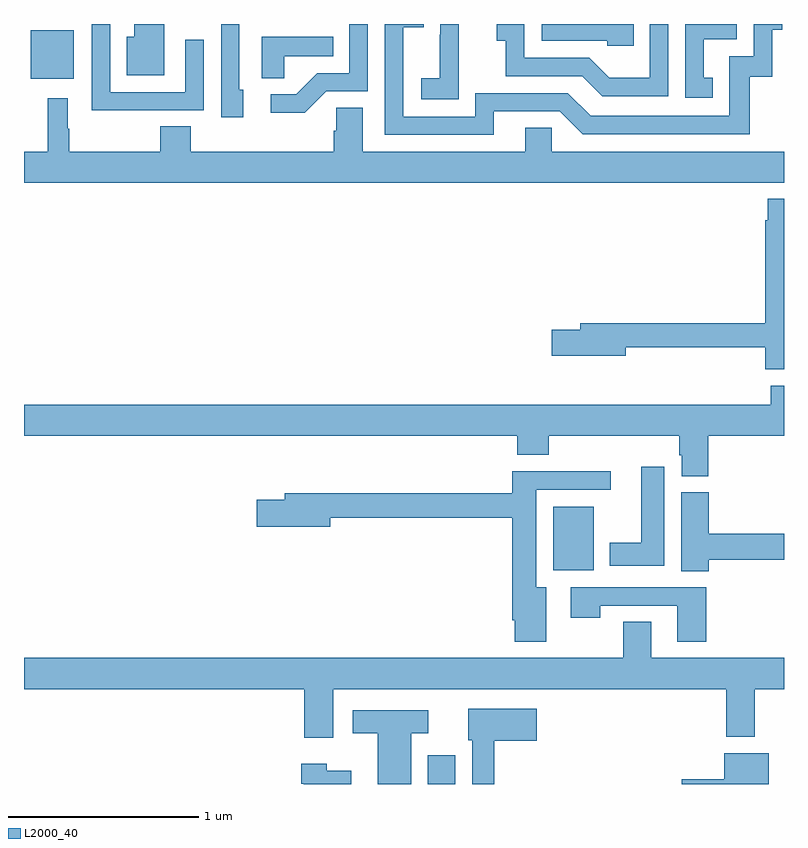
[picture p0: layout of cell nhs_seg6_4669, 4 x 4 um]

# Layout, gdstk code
import gdstk
lib = gdstk.Library(unit=1e-6, precision=1e-09)
def R(c, l, rs):  # rectangles x0, y0, x1, y1
    for r in rs: c.add(gdstk.rectangle(r[:2], r[2:], *l))
def P(c, l, *ps):  # polygons
    for p in ps: c.add(gdstk.Polygon(p, *l))
L2000_40 = (2000, 40)

nhs_seg6_4669 = lib.new_cell('nhs_seg6_4669')
R(nhs_seg6_4669, L2000_40, [(389.126,949.5,389.269,949.651), (389.786,950.624,389.998,950.959), (387.035,953.213,387.262,953.467)])
P(nhs_seg6_4669, L2000_40, [(388.59,953.145),(388.809,953.145),(388.809,953.5),(388.713,953.5),(388.713,953.241),(388.544,953.241),(388.433,953.13),(388.299,953.13),(388.299,953.033),(388.477,953.033)],
  [(387.629,953.046),(387.945,953.046),(387.945,953.416),(387.849,953.416),(387.849,953.142),(387.453,953.142),(387.453,953.5),(387.357,953.5),(387.357,953.045),(387.629,953.045)],
  [(389.473,953.04),(389.82,953.04),(389.94,952.92),(390.82,952.92),(390.82,953.223),(390.938,953.223),(390.938,953.469),(390.991,953.469),(390.991,953.5),(390.84,953.5),(390.84,953.331),(390.711,953.331),(390.711,953.016),(389.982,953.016),(389.862,953.136),(389.376,953.136),(389.376,953.013),(388.995,953.013),(388.995,953.482),(389.105,953.482),(389.105,953.5),(388.899,953.5),(388.899,952.917),(389.473,952.917)],
  [(388.153,953.154),(388.134,953.154),(388.134,953.5),(388.038,953.5),(388.038,953.01),(388.153,953.01)],
  [(387.739,953.5),(387.581,953.5),(387.581,953.434),(387.542,953.434),(387.542,953.231),(387.739,953.231)],
  [(390.626,953.217),(390.577,953.217),(390.577,953.421),(390.75,953.421),(390.75,953.5),(390.48,953.5),(390.48,953.112),(390.626,953.112)],
  [(389.289,953.311),(389.288,953.311),(389.288,953.5),(389.19,953.5),(389.19,953.444),(389.189,953.444),(389.189,953.215),(389.091,953.215),(389.091,953.105),(389.289,953.105)],
  [(390.209,953.5),(389.724,953.5),(389.724,953.412),(390.069,953.412),(390.069,953.385),(390.209,953.385)],
  [(390.39,953.5),(390.294,953.5),(390.294,953.218),(390.08,953.218),(389.976,953.322),(389.634,953.322),(389.634,953.5),(389.487,953.5),(389.487,953.411),(389.536,953.411),(389.536,953.226),(389.939,953.226),(390.044,953.121),(390.39,953.121)],
  [(388.371,953.33),(388.628,953.33),(388.628,953.434),(388.25,953.434),(388.25,953.215),(388.371,953.215)],
  [(391,952.828),(389.778,952.828),(389.778,952.955),(389.639,952.955),(389.639,952.828),(388.783,952.828),(388.783,953.06),(388.644,953.06),(388.644,952.937),(388.631,952.937),(388.631,952.828),(387.878,952.828),(387.878,952.961),(387.718,952.961),(387.718,952.828),(387.239,952.828),(387.239,952.949),(387.229,952.949),(387.229,953.11),(387.125,953.11),(387.125,952.828),(387,952.828),(387,952.664),(391,952.664)],
  [(391,952.579),(390.914,952.579),(390.914,952.466),(390.902,952.466),(390.902,951.926),(389.927,951.926),(389.927,951.89),(389.778,951.89),(389.778,951.755),(390.166,951.755),(390.166,951.798),(390.902,951.798),(390.902,951.683),(391,951.683)],
  [(390.602,951.332),(391,951.332),(391,951.595),(390.929,951.595),(390.929,951.496),(387,951.496),(387,951.332),(389.597,951.332),(389.597,951.233),(389.762,951.233),(389.762,951.332),(390.449,951.332),(390.449,951.231),(390.461,951.231),(390.461,951.121),(390.602,951.121)],
  [(390.37,951.169),(390.248,951.169),(390.248,950.77),(390.083,950.77),(390.083,950.648),(390.37,950.648)],
  [(389.749,950.536),(389.695,950.536),(389.695,951.048),(390.088,951.048),(390.088,951.146),(389.57,951.146),(389.57,951.031),(388.373,951.031),(388.373,950.997),(388.224,950.997),(388.224,950.855),(388.612,950.855),(388.612,950.902),(389.57,950.902),(389.57,950.362),(389.582,950.362),(389.582,950.25),(389.749,950.25)],
  [(390.605,950.68),(391,950.68),(391,950.816),(390.605,950.816),(390.605,951.036),(390.458,951.036),(390.458,950.62),(390.605,950.62)],
  [(390.59,950.535),(389.877,950.535),(389.877,950.376),(390.033,950.376),(390.033,950.439),(390.437,950.439),(390.437,950.25),(390.59,950.25)],
  [(388.627,950),(390.695,950),(390.695,949.748),(390.847,949.748),(390.847,950),(391,950),(391,950.164),(390.301,950.164),(390.301,950.354),(390.154,950.354),(390.154,950.164),(387,950.164),(387,950),(388.475,950),(388.475,949.743),(388.627,949.743)],
  [(389.474,949.727),(389.698,949.727),(389.698,949.897),(389.339,949.897),(389.339,949.731),(389.358,949.731),(389.358,949.5),(389.474,949.5)],
  [(389.038,949.766),(389.128,949.766),(389.128,949.888),(388.731,949.888),(388.731,949.766),(388.862,949.766),(388.862,949.5),(389.038,949.5)],
  [(390.919,949.663),(390.686,949.663),(390.686,949.524),(390.462,949.524),(390.462,949.5),(390.919,949.5)],
  [(388.723,949.57),(388.594,949.57),(388.594,949.606),(388.46,949.606),(388.46,949.502),(388.472,949.502),(388.472,949.5),(388.723,949.5)])

lib.write_gds('nhs_seg6_4669.gds')
